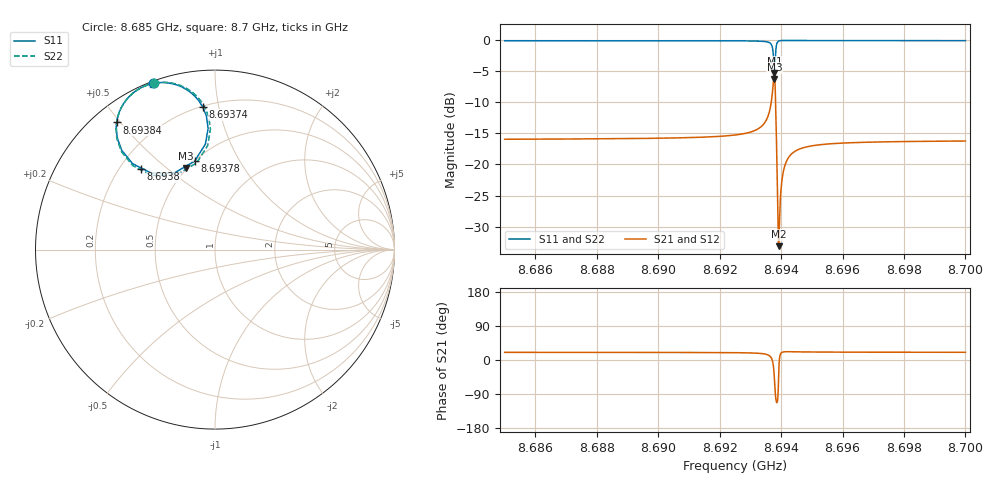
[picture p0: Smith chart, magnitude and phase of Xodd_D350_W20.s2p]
! Sonnet Data File
! From: emgraph Version : 16.52
! From Project: Qubit_Xmon2_brg
! Data is De-embedded
! Data File Written: 10/25/2017 20:12:53
!< HDATE 10/25/2017 15:44:55
!< MDATE 10/25/2017 15:44:55
!< PARAMS
!< Lj = 11.0
!< Gap = 6.0
!< Pwid = 2000.0
!< Airgap = 6.0
!< Width = 10.0
!< Bwid = 20.0
!< Dis1 = 350.0
!< Dis2 = 356.0
!< END PARAMS
# GHZ S MA R 34.70000
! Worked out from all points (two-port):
!   3001 points, 8.685 GHz to 8.7 GHz, reference 34.7 ohm
!   highest |S21| = -5.33 dB at 8.69378 GHz (marker M1); lowest = -33.1 dB at 8.69392 GHz (marker M2)
!   |S21| within 3 dB of the highest: 8.693721 GHz to 8.693812 GHz (91.54 kHz wide, 0.00105 % of centre)
!   lowest |S11| = -6.3 dB at 8.69379 GHz (marker M3), VSWR 2.87, Z = 17.1 + j20.2 ohm
!   |S11| at or under -10 dB: nowhere
!   |S22| runs from -6.6 to -0.1 dB; largest |S21 - S12| = 0
!   S11 on the Smith chart (normalised r, x): 8.685 GHz: 0.01, +0.70; 8.69374 GHz: 0.20, +0.90; 8.69378 GHz: 0.50, +0.67; 8.6938 GHz: 0.29, +0.41; 8.69384 GHz: 0.07, +0.49; 8.7 GHz: 0.01, +0.69
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8.685  0.9872 110.3  0.1593 20.2  0.1593 20.2  0.9872 110.1
!< P1 F=8.685 Eeff=(5.13559215 -5.6621e-5) Z0=(34.6542042 -9.3986e-5) R=0.0 C=0.0
!< P2 F=8.685 Eeff=(5.13559215 -5.6621e-5) Z0=(34.6542042 -9.3986e-5) R=0.0 C=0.0
8.6875  0.9871 110.3  0.1603 20.1  0.1603 20.1  0.9871 110.0
8.69  0.9867 110.1  0.1624 20.0  0.1624 20.0  0.9867 109.8
8.6925  0.9848 109.5  0.1724 19.3  0.1724 19.3  0.9848 109.2
8.69343  0.9748 107.3  0.2105 16.4  0.2105 16.4  0.9747 107.0
8.693565  0.9636 105.6  0.2407 13.7  0.2407 13.7  0.9634 105.2
8.693655  0.9381 102.7  0.2904 8.6  0.2904 8.6  0.9375 102.2
8.69371  0.8836 98.7  0.3614 0.2  0.3614 0.2  0.8822 98.0
8.69374  0.7983 94.9  0.4339 -10.3  0.4339 -10.3  0.7952 94.1
8.69378  0.5063 102.9  0.5412 -45.2  0.5412 -45.2  0.4935 102.0
8.693785  0.4831 109.7  0.5373 -52.0  0.5373 -52.0  0.4688 109.1
8.693805  0.6082 132.7  0.4378 -79.7  0.4378 -79.7  0.5978 133.3
8.693845  0.8956 127.7  0.1762 -109.7  0.1762 -109.7  0.893 128.0
8.693885  0.9624 121.7  0.0565 -107.0  0.0565 -107.0  0.9613 121.8
8.69392  0.9795 118.9  0.02202 -41.6  0.02202 -41.6  0.9789 118.9
8.693965  0.9874 116.8  0.04615 12.0  0.04615 12.0  0.9871 116.7
8.69407  0.9917 114.4  0.08667 21.3  0.08667 21.3  0.9915 114.3
8.69423  0.9918 113.0  0.1123 21.9  0.1123 21.9  0.9917 112.8
8.694505  0.9908 112.0  0.1297 21.5  0.1297 21.5  0.9908 111.7
8.695  0.9898 111.3  0.141 21.1  0.141 21.1  0.9897 111.1
8.6975  0.9883 110.7  0.152 20.5  0.152 20.5  0.9883 110.4
8.7  0.988 110.5  0.1542 20.4  0.1542 20.4  0.988 110.3
